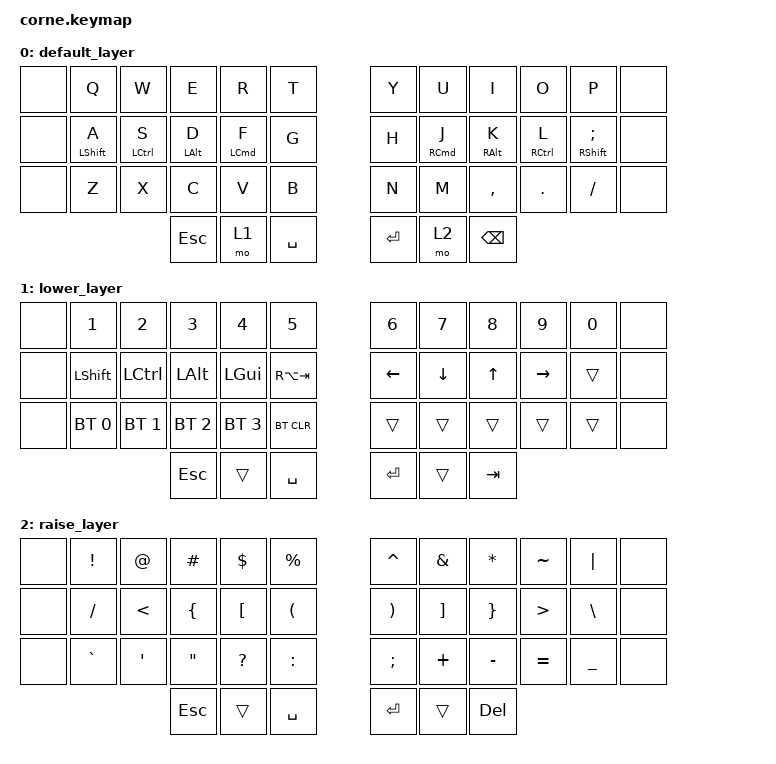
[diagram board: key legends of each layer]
/*
 * Copyright (c) 2020 The ZMK Contributors
 *
 * SPDX-License-Identifier: MIT
 */

#include <behaviors.dtsi>
#include <dt-bindings/zmk/bt.h>
#include <dt-bindings/zmk/keys.h>

/ {
    behaviors {
        hml: homewrow_mods_left {
            compatible = "zmk,behavior-hold-tap";
            label = "HOMEROW_MODS_LEFT_HAND";
            bindings = <&kp>, <&kp>;

            #binding-cells = <2>;
            tapping-term-ms = <500>;
            hold-trigger-key-positions = <39 40 41 30 31 32 33 34 6 7 8 9 10 18 19 20 21 22 11 23 35>;
            flavor = "tap-unless-interrupted";
        };

        hmr: homewrow_mods_right {
            compatible = "zmk,behavior-hold-tap";
            label = "HOMEROW_MODS_RIGHT_HAND";
            bindings = <&kp>, <&kp>;

            #binding-cells = <2>;
            tapping-term-ms = <500>;
            hold-trigger-key-positions = <0 1 2 3 4 5 12 13 14 15 16 17 24 25 26 27 28 29 36 37 38>;
            flavor = "tap-unless-interrupted";
        };
    };

    combos { compatible = "zmk,combos"; };

    keymap {
        compatible = "zmk,keymap";

        default_layer {
            // -----------------------------------------------------------------------------------------
            // |  TAB |  Q  |  W  |  E  |  R  |  T  |   |  Y  |  U   |  I  |  O  |  P  | BKSP |
            // | CTRL |  A  |  S  |  D  |  F  |  G  |   |  H  |  J   |  K  |  L  |  ;  |  '   |
            // | SHFT |  Z  |  X  |  C  |  V  |  B  |   |  N  |  M   |  ,  |  .  |  /  | ESC  |
            //                    | GUI | LWR | SPC |   | ENT | RSE  | ALT |

            bindings = <
&none  &kp Q          &kp W         &kp E            &kp R        &kp T        &kp Y    &kp U        &kp I             &kp O         &kp P             &none
&none  &hml LSHIFT A  &hml LCTRL S  &hml LEFT_ALT D  &hml LCMD F  &kp G        &kp H    &hmr RCMD J  &hmr RIGHT_ALT K  &hmr RCTRL L  &hmr RSHIFT SEMI  &none
&none  &kp Z          &kp X         &kp C            &kp V        &kp B        &kp N    &kp M        &kp COMMA         &kp DOT       &kp FSLH          &none
                                    &kp ESCAPE       &mo 1        &kp SPACE    &kp RET  &mo 2        &kp BACKSPACE
            >;
        };

        lower_layer {
            // -----------------------------------------------------------------------------------------
            // |  TAB |  1  |  2  |  3  |  4  |  5  |   |  6  |  7  |  8  |  9  |  0  | BKSP |
            // | BTCLR| BT1 | BT2 | BT3 | BT4 | BCA |   | LFT | DWN |  UP | RGT |     |      |
            // | SHFT |     |     |     |     |     |   |     |     |     |     |     |      |
            //                    | GUI |     | SPC |   | ENT |     | ALT |

            bindings = <
&none  &kp N1        &kp N2        &kp N3        &kp N4        &kp N5         &kp N6    &kp N7    &kp N8   &kp N9     &kp N0  &none
&none  &kp LSHIFT    &kp LCTRL     &kp LALT      &kp LEFT_GUI  &kp RA(TAB)    &kp LEFT  &kp DOWN  &kp UP   &kp RIGHT  &trans  &none
&none  &bt BT_SEL 0  &bt BT_SEL 1  &bt BT_SEL 2  &bt BT_SEL 3  &bt BT_CLR     &trans    &trans    &trans   &trans     &trans  &none
                                   &kp ESCAPE    &trans        &kp SPACE      &kp RET   &trans    &kp TAB
            >;
        };

        raise_layer {
            // -----------------------------------------------------------------------------------------
            // |  TAB |  !  |  @  |  #  |  $  |  %  |   |  ^  |  &  |  *  |  (  |  )  | BKSP |
            // | CTRL |     |     |     |     |     |   |  -  |  =  |  [  |  ]  |  \  |  `   |
            // | SHFT |     |     |     |     |     |   |  _  |  +  |  {  |  }  | "|" |  ~   |
            //                    | GUI |     | SPC |   | ENT |     | ALT |

            bindings = <
&none  &kp EXCL   &kp AT            &kp HASH           &kp DLLR          &kp PRCNT               &kp CARET              &kp AMPS           &kp ASTRK        &kp TILDE         &kp PIPE       &none
&none  &kp SLASH  &kp LESS_THAN     &kp LEFT_BRACE     &kp LEFT_BRACKET  &kp LEFT_PARENTHESIS    &kp RIGHT_PARENTHESIS  &kp RIGHT_BRACKET  &kp RIGHT_BRACE  &kp GREATER_THAN  &kp BACKSLASH  &none
&none  &kp GRAVE  &kp SINGLE_QUOTE  &kp DOUBLE_QUOTES  &kp QUESTION      &kp COLON               &kp SEMI               &kp PLUS           &kp MINUS        &kp EQUAL         &kp UNDER      &none
                                    &kp ESCAPE         &trans            &kp SPACE               &kp RET                &trans             &kp DEL
            >;
        };
    };
};
